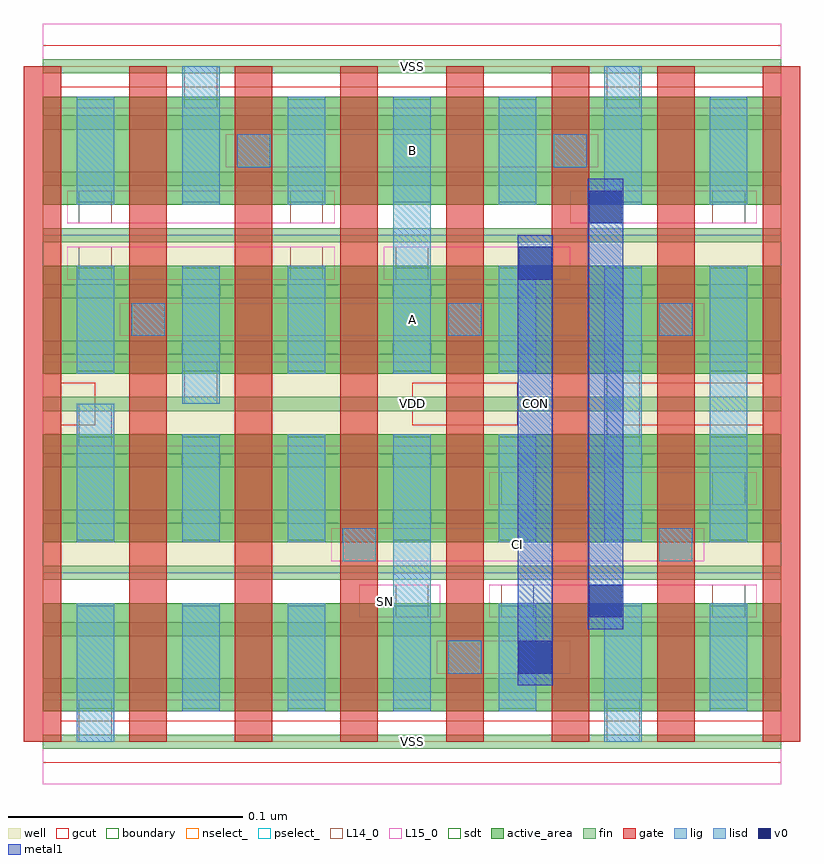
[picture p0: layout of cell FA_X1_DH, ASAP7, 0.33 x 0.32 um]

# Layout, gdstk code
import gdstk
lib = gdstk.Library(unit=1e-6, precision=2.5e-10)
def R(c, l, rs):  # rectangles x0, y0, x1, y1
    for r in rs: c.add(gdstk.rectangle(r[:2], r[2:], *l))
def A(c, l, x, y, w, h, nx, ny, dx, dy):  # array of equal rectangles
    R(c, l, [(x+i*dx, y+j*dy, x+i*dx+w, y+j*dy+h) for i in range(nx) for j in range(ny)])
def P(c, l, *ps):  # polygons
    for p in ps: c.add(gdstk.Polygon(p, *l))
well = (1, 0)
fin = (2, 0)
gate = (7, 0)
gcut = (10, 0)
active_area = (11, 0)
nselect_ = (12, 0)
pselect_ = (13, 0)
L14_0 = (14, 0)
L15_0 = (15, 0)
lig = (16, 0)
lisd = (17, 0)
v0 = (18, 0)
metal1 = (19, 0)
sdt = (88, 0)
boundary = (100, 0)

fa_x1_dh = lib.new_cell('FA_X1_DH')
R(fa_x1_dh, well, [(0,0.072,0.315,0.144), (0,0.144,0.315,0.216)])
A(fa_x1_dh, fin, 0, -0.003, 0.315, 0.006, 1, 13, 0, 0.024)
A(fa_x1_dh, gate, -0.008, 0, 0.016, 0.288, 8, 1, 0.045, 0)
R(fa_x1_dh, gcut, [(0.1575,0.135,0.2025,0.153)])
P(fa_x1_dh, gcut, [(0,-0.009),(0,0),(-0.008,0),(-0.008,0.279),(0.008,0.279),(0.008,0.153),(0.0225,0.153),(0.0225,0.135),(0.008,0.135),(0.008,0.009),(0.307,0.009),(0.307,0.135),(0.2475,0.135),(0.2475,0.153),(0.307,0.153),(0.307,0.279),(-0.008,0.279),(-0.008,0.288),(0,0.288),(0,0.297),(0.315,0.297),(0.315,0.288),(0.323,0.288),(0.323,0),(0.315,0),(0.315,-0.009)])
A(fa_x1_dh, active_area, 0, 0.013, 0.315, 0.046, 1, 4, 0, 0.072)
R(fa_x1_dh, nselect_, [(0,0,0.315,0.072), (0,0.216,0.315,0.288)])
R(fa_x1_dh, pselect_, [(0,0.072,0.315,0.144), (0,0.144,0.315,0.216)])
R(fa_x1_dh, L14_0, [(0.0155,0,0.0295,0.018), (0.2405,0,0.2545,0.018), (0.173,0.029,0.187,0.043), (0.1505,0.053,0.1645,0.067), (0.1955,0.053,0.2095,0.067), (0.2855,0.053,0.2995,0.067), (0.128,0.077,0.142,0.091), (0.263,0.077,0.277,0.091), (0.1955,0.101,0.2095,0.115), (0.2855,0.101,0.2995,0.115), (0.0155,0.126,0.0295,0.144), (0.2405,0.126,0.2545,0.144), (0.0605,0.144,0.0745,0.162), (0.2405,0.144,0.2545,0.162), (0.038,0.173,0.052,0.187), (0.173,0.173,0.187,0.187), (0.263,0.173,0.277,0.187), (0.0155,0.197,0.0295,0.211), (0.1055,0.197,0.1195,0.211), (0.1505,0.197,0.1645,0.211), (0.0155,0.221,0.0295,0.235), (0.1055,0.221,0.1195,0.235), (0.2855,0.221,0.2995,0.235), (0.083,0.245,0.097,0.259), (0.218,0.245,0.232,0.259), (0.0605,0.27,0.0745,0.288), (0.2405,0.27,0.2545,0.288)])
A(fa_x1_dh, L15_0, 0, -0.018, 0.315, 0.036, 1, 3, 0, 0.144)
R(fa_x1_dh, L15_0, [(0.168,0.029,0.225,0.043), (0.135,0.053,0.1695,0.067), (0.1905,0.053,0.3045,0.067), (0.123,0.077,0.282,0.091), (0.1905,0.101,0.3045,0.115), (0.033,0.173,0.282,0.187), (0.0105,0.197,0.1245,0.211), (0.1455,0.197,0.225,0.211), (0.0105,0.221,0.1245,0.235), (0.225,0.221,0.3045,0.235), (0.078,0.245,0.237,0.259)])
R(fa_x1_dh, lig, [(0.173,0.029,0.187,0.043), (0.128,0.077,0.142,0.091), (0.263,0.077,0.277,0.091), (0.038,0.173,0.052,0.187), (0.173,0.173,0.187,0.187), (0.263,0.173,0.277,0.187), (0.083,0.245,0.097,0.259), (0.218,0.245,0.232,0.259)])
A(fa_x1_dh, lisd, 0.1045, 0.013, 0.016, 0.046, 3, 1, 0.09, 0)
A(fa_x1_dh, lisd, 0.0145, 0.157, 0.016, 0.046, 3, 1, 0.09, 0)
A(fa_x1_dh, lisd, 0.0145, 0.229, 0.016, 0.046, 4, 1, 0.09, 0)
R(fa_x1_dh, lisd, [(0.0145,0,0.0305,0.059), (0.2395,0,0.2555,0.059), (0.0595,0.013,0.0755,0.059), (0.1495,0.013,0.1655,0.131), (0.0145,0.085,0.0305,0.144), (0.0595,0.085,0.0755,0.131), (0.1045,0.085,0.1205,0.131), (0.1945,0.085,0.2105,0.131), (0.2395,0.085,0.2555,0.203), (0.2845,0.085,0.3005,0.203), (0.0595,0.144,0.0755,0.203), (0.1495,0.157,0.1655,0.275), (0.0595,0.229,0.0755,0.288), (0.2395,0.229,0.2555,0.288)])
R(fa_x1_dh, v0, [(0.203,0.029,0.217,0.043), (0.233,0.053,0.247,0.067), (0.203,0.197,0.217,0.211), (0.233,0.221,0.247,0.235)])
R(fa_x1_dh, metal1, [(0.2025,0.024,0.2175,0.216), (0.2325,0.048,0.2475,0.24)])
A(fa_x1_dh, sdt, 0.0145, 0.014, 0.016, 0.044, 7, 4, 0.045, 0.072)
R(fa_x1_dh, boundary, [(0,0,0.315,0.288)])
fa_x1_dh.add(gdstk.Label('B', (0.1575,0.252), layer=15, texttype=251))
fa_x1_dh.add(gdstk.Label('VSS', (0.1575,0), layer=15, texttype=251))
fa_x1_dh.add(gdstk.Label('VDD', (0.1575,0.144), layer=15, texttype=251))
fa_x1_dh.add(gdstk.Label('VDD', (0.1575,0.144), layer=15, texttype=251))
fa_x1_dh.add(gdstk.Label('VSS', (0.1575,0.288), layer=15, texttype=251))
fa_x1_dh.add(gdstk.Label('SN', (0.1463,0.06), layer=15, texttype=251))
fa_x1_dh.add(gdstk.Label('VSS', (0.1575,0), layer=15, texttype=251))
fa_x1_dh.add(gdstk.Label('VDD', (0.1575,0.144), layer=15, texttype=251))
fa_x1_dh.add(gdstk.Label('VDD', (0.1575,0.144), layer=15, texttype=251))
fa_x1_dh.add(gdstk.Label('VSS', (0.1575,0.288), layer=15, texttype=251))
fa_x1_dh.add(gdstk.Label('A', (0.1575,0.18), layer=15, texttype=251))
fa_x1_dh.add(gdstk.Label('VSS', (0.1575,0), layer=15, texttype=251))
fa_x1_dh.add(gdstk.Label('VDD', (0.1575,0.144), layer=15, texttype=251))
fa_x1_dh.add(gdstk.Label('VDD', (0.1575,0.144), layer=15, texttype=251))
fa_x1_dh.add(gdstk.Label('VSS', (0.1575,0.288), layer=15, texttype=251))
fa_x1_dh.add(gdstk.Label('CI', (0.2025,0.084), layer=15, texttype=251))
fa_x1_dh.add(gdstk.Label('VSS', (0.1575,0), layer=15, texttype=251))
fa_x1_dh.add(gdstk.Label('VDD', (0.1575,0.144), layer=15, texttype=251))
fa_x1_dh.add(gdstk.Label('VDD', (0.1575,0.144), layer=15, texttype=251))
fa_x1_dh.add(gdstk.Label('VSS', (0.1575,0.288), layer=15, texttype=251))
fa_x1_dh.add(gdstk.Label('VSS', (0.1575,0), layer=15, texttype=251))
fa_x1_dh.add(gdstk.Label('VDD', (0.1575,0.144), layer=15, texttype=251))
fa_x1_dh.add(gdstk.Label('VDD', (0.1575,0.144), layer=15, texttype=251))
fa_x1_dh.add(gdstk.Label('VSS', (0.1575,0.288), layer=15, texttype=251))
fa_x1_dh.add(gdstk.Label('VSS', (0.1575,0), layer=3, texttype=251))
fa_x1_dh.add(gdstk.Label('VSS', (0.1575,0.288), layer=3, texttype=251))
fa_x1_dh.add(gdstk.Label('VSS', (0.1575,0), layer=3, texttype=251))
fa_x1_dh.add(gdstk.Label('VSS', (0.1575,0.288), layer=3, texttype=251))
fa_x1_dh.add(gdstk.Label('VSS', (0.1575,0), layer=3, texttype=251))
fa_x1_dh.add(gdstk.Label('VSS', (0.1575,0.288), layer=3, texttype=251))
fa_x1_dh.add(gdstk.Label('VSS', (0.1575,0), layer=3, texttype=251))
fa_x1_dh.add(gdstk.Label('VSS', (0.1575,0.288), layer=3, texttype=251))
fa_x1_dh.add(gdstk.Label('VSS', (0.1575,0), layer=3, texttype=251))
fa_x1_dh.add(gdstk.Label('VSS', (0.1575,0.288), layer=3, texttype=251))
fa_x1_dh.add(gdstk.Label('VDD', (0.1575,0.144), layer=1, texttype=251))
fa_x1_dh.add(gdstk.Label('VDD', (0.1575,0.144), layer=1, texttype=251))
fa_x1_dh.add(gdstk.Label('VDD', (0.1575,0.144), layer=1, texttype=251))
fa_x1_dh.add(gdstk.Label('VDD', (0.1575,0.144), layer=1, texttype=251))
fa_x1_dh.add(gdstk.Label('VDD', (0.1575,0.144), layer=1, texttype=251))
fa_x1_dh.add(gdstk.Label('VDD', (0.1575,0.144), layer=1, texttype=251))
fa_x1_dh.add(gdstk.Label('VDD', (0.1575,0.144), layer=1, texttype=251))
fa_x1_dh.add(gdstk.Label('VDD', (0.1575,0.144), layer=1, texttype=251))
fa_x1_dh.add(gdstk.Label('VDD', (0.1575,0.144), layer=1, texttype=251))
fa_x1_dh.add(gdstk.Label('VDD', (0.1575,0.144), layer=1, texttype=251))
fa_x1_dh.add(gdstk.Label('CON', (0.21,0.144), layer=19, texttype=251))

lib.write_gds('FA_X1_DH.gds')
